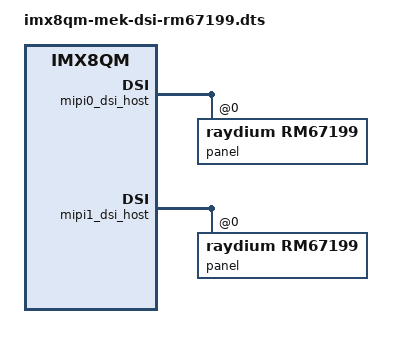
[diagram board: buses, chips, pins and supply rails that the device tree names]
// SPDX-License-Identifier: GPL-2.0+
/*
 * Copyright 2022 NXP
 */

/dts-v1/;

#include "imx8qm-mek-dsi-rm67191.dts"


&mipi0_dsi_host {
	panel@0 {
		compatible = "raydium,rm67199";
	};
};

&mipi1_dsi_host {
	panel@0 {
		compatible = "raydium,rm67199";
	};
};
